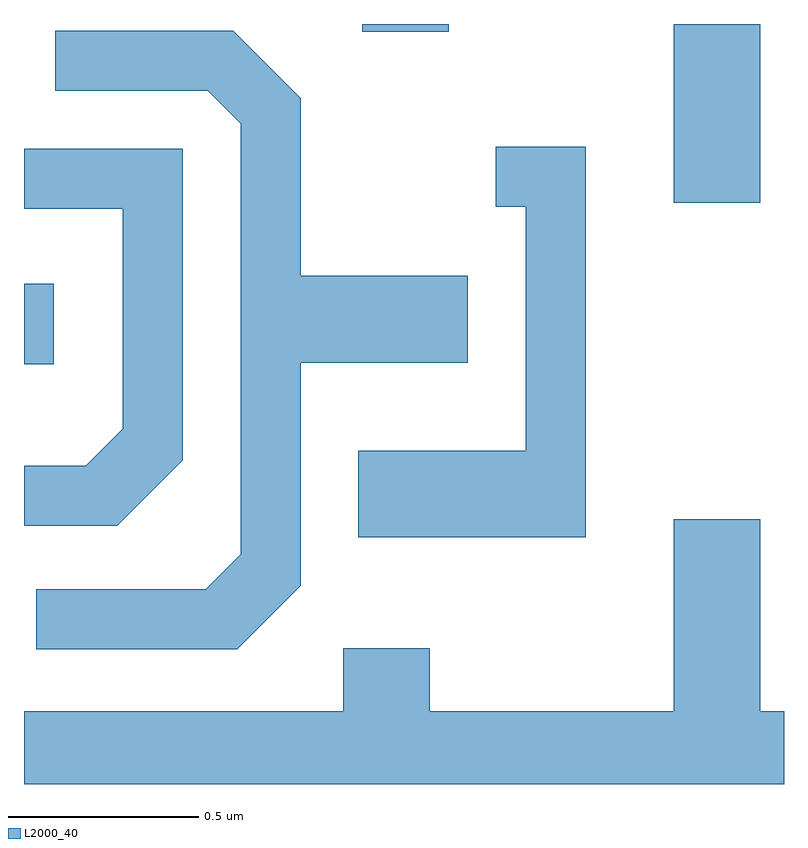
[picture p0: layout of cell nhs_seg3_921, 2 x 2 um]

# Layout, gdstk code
import gdstk
lib = gdstk.Library(unit=1e-6, precision=1e-09)
def R(c, l, rs):  # rectangles x0, y0, x1, y1
    for r in rs: c.add(gdstk.rectangle(r[:2], r[2:], *l))
def P(c, l, *ps):  # polygons
    for p in ps: c.add(gdstk.Polygon(p, *l))
L2000_40 = (2000, 40)

nhs_seg3_921 = lib.new_cell('nhs_seg3_921')
R(nhs_seg3_921, L2000_40, [(191.611,1215.996,191.689,1216.209), (193.321,1216.421,193.549,1216.892), (192.501,1216.871,192.729,1216.892)])
P(nhs_seg3_921, L2000_40, [(192.339,1215.414),(192.339,1216.001),(192.779,1216.001),(192.779,1216.229),(192.339,1216.229),(192.339,1216.697),(192.162,1216.874),(191.693,1216.874),(191.693,1216.716),(192.094,1216.716),(192.181,1216.629),(192.181,1215.497),(192.089,1215.404),(191.643,1215.404),(191.643,1215.246),(192.172,1215.246)],
  [(193.089,1216.569),(192.853,1216.569),(192.853,1216.411),(192.931,1216.411),(192.931,1215.769),(192.491,1215.769),(192.491,1215.541),(193.089,1215.541)],
  [(192.029,1215.744),(192.029,1216.564),(191.611,1216.564),(191.611,1216.406),(191.871,1216.406),(191.871,1215.827),(191.774,1215.729),(191.611,1215.729),(191.611,1215.571),(191.857,1215.571)],
  [(193.611,1215.084),(193.549,1215.084),(193.549,1215.589),(193.321,1215.589),(193.321,1215.084),(192.679,1215.084),(192.679,1215.249),(192.451,1215.249),(192.451,1215.084),(191.611,1215.084),(191.611,1214.892),(193.611,1214.892)])

lib.write_gds('nhs_seg3_921.gds')
